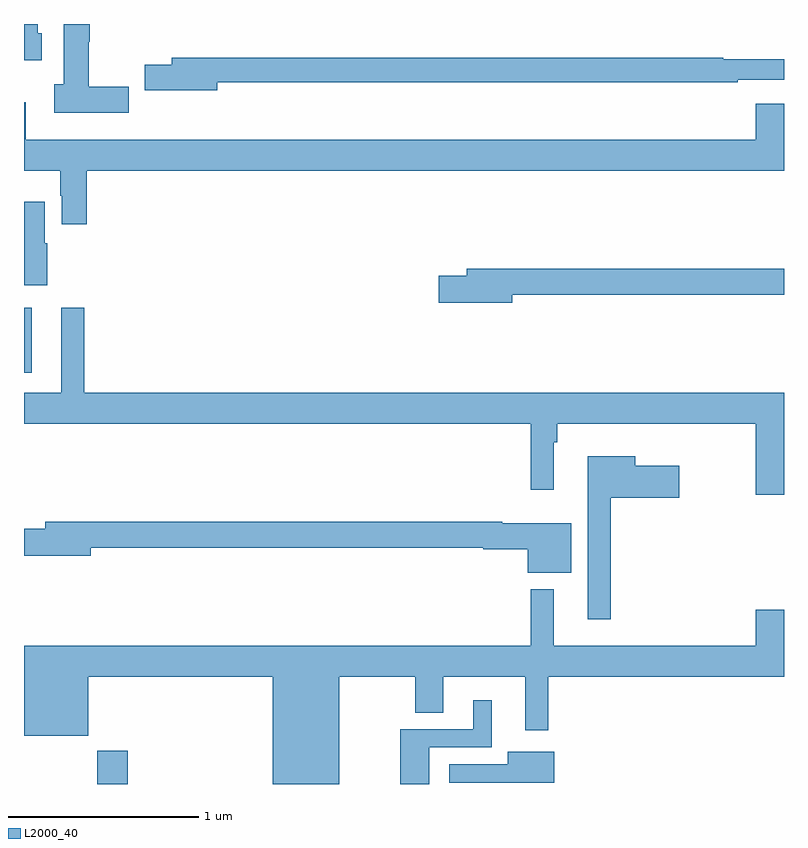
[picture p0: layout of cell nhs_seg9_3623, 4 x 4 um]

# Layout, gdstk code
import gdstk
lib = gdstk.Library(unit=1e-6, precision=1e-09)
def R(c, l, rs):  # rectangles x0, y0, x1, y1
    for r in rs: c.add(gdstk.rectangle(r[:2], r[2:], *l))
def P(c, l, *ps):  # polygons
    for p in ps: c.add(gdstk.Polygon(p, *l))
L2000_40 = (2000, 40)

nhs_seg9_3623 = lib.new_cell('nhs_seg9_3623')
R(nhs_seg9_3623, L2000_40, [(317.386,1218.5,317.546,1218.676), (317,1220.664,317.041,1221.007)])
P(nhs_seg9_3623, L2000_40, [(317.55,1222.169),(317.34,1222.169),(317.34,1222.406),(317.345,1222.406),(317.345,1222.5),(317.21,1222.5),(317.21,1222.182),(317.16,1222.182),(317.16,1222.034),(317.55,1222.034)],
  [(317.094,1222.452),(317.073,1222.452),(317.073,1222.5),(317,1222.5),(317,1222.308),(317.094,1222.308)],
  [(318.016,1222.194),(320.756,1222.194),(320.756,1222.206),(321,1222.206),(321,1222.315),(320.681,1222.315),(320.681,1222.322),(317.777,1222.322),(317.777,1222.286),(317.635,1222.286),(317.635,1222.151),(318.016,1222.151)],
  [(317.33,1221.728),(321,1221.728),(321,1222.081),(320.852,1222.081),(320.852,1221.892),(317.008,1221.892),(317.008,1222.087),(317,1222.087),(317,1221.728),(317.191,1221.728),(317.191,1221.596),(317.198,1221.596),(317.198,1221.447),(317.33,1221.447)],
  [(317.123,1221.347),(317.11,1221.347),(317.11,1221.565),(317,1221.565),(317,1221.126),(317.123,1221.126)],
  [(319.57,1221.076),(321,1221.076),(321,1221.212),(319.331,1221.212),(319.331,1221.176),(319.182,1221.176),(319.182,1221.034),(319.57,1221.034)],
  [(321,1220.56),(317.317,1220.56),(317.317,1221.007),(317.195,1221.007),(317.195,1220.56),(317,1220.56),(317,1220.396),(319.668,1220.396),(319.668,1220.049),(319.789,1220.049),(319.789,1220.3),(319.807,1220.3),(319.807,1220.396),(320.852,1220.396),(320.852,1220.022),(321,1220.022)],
  [(320.089,1220.006),(320.449,1220.006),(320.449,1220.176),(320.218,1220.176),(320.218,1220.224),(319.967,1220.224),(319.967,1219.368),(320.089,1219.368)],
  [(319.879,1219.873),(319.516,1219.873),(319.516,1219.88),(317.111,1219.88),(317.111,1219.844),(317,1219.844),(317,1219.702),(317.35,1219.702),(317.35,1219.744),(319.416,1219.744),(319.416,1219.736),(319.652,1219.736),(319.652,1219.613),(319.879,1219.613)],
  [(318.658,1219.064),(319.06,1219.064),(319.06,1218.874),(319.207,1218.874),(319.207,1219.064),(319.637,1219.064),(319.637,1218.783),(319.759,1218.783),(319.759,1219.064),(321,1219.064),(321,1219.417),(320.852,1219.417),(320.852,1219.228),(319.789,1219.228),(319.789,1219.525),(319.668,1219.525),(319.668,1219.228),(317,1219.228),(317,1218.755),(317.338,1218.755),(317.338,1219.064),(318.308,1219.064),(318.308,1218.5),(318.658,1218.5)],
  [(319.132,1218.693),(319.462,1218.693),(319.462,1218.94),(319.364,1218.94),(319.364,1218.789),(318.979,1218.789),(318.979,1218.5),(319.132,1218.5)],
  [(319.792,1218.67),(319.547,1218.67),(319.547,1218.603),(319.239,1218.603),(319.239,1218.507),(319.551,1218.507),(319.551,1218.506),(319.792,1218.506)])

lib.write_gds('nhs_seg9_3623.gds')
